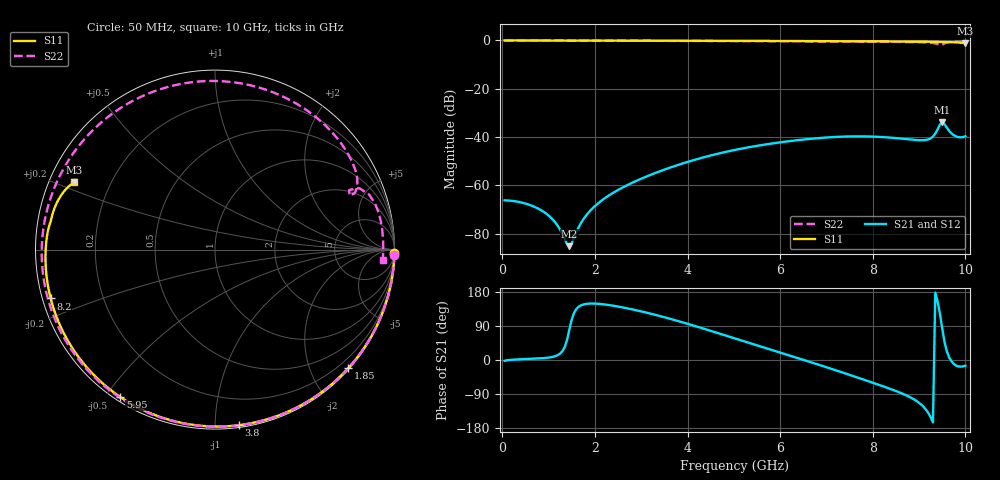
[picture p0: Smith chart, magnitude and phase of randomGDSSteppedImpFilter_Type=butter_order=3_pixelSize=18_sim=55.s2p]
! freq	dB(S11)	phase(S11)	dB(S12)	phase(S12)
!  dB(S21)	phase(S21)	dB(S22)	phase(S22)
!S-par simulation data
#  GHz  S  DB  R 50
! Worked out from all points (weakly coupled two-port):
!   200 points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, 50 MHz to 10 GHz, reference 50 ohm
!   highest |S21| = -33.83 dB at 9.5 GHz (marker M1); lowest = -85.1 dB at 1.45 GHz (marker M2)
!   lowest |S11| = -1.2 dB at 10 GHz (marker M3), VSWR 14.55, Z = 3.61 + j11.2 ohm
!   |S11| at or under -10 dB: nowhere
!   |S22| runs from -1.9 to 0.0 dB; largest |S21 - S12| = 0
!   S11 on the Smith chart (normalised r, x): 50 MHz: open; 1.85 GHz: 0.02, -2.63; 3.8 GHz: 0.01, -1.15; 5.95 GHz: 0.02, -0.55; 8.2 GHz: 0.02, -0.15; 10 GHz: 0.07, +0.22
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0.05  -0.00 -1.2  -66.16 -2.1  -66.16 -2.1  -0.00 -1.6
0.75  -0.02 -17.2  -69.35 3.8  -69.35 3.8  -0.02 -23.6
1.05  -0.03 -23.9  -73.34 7.3  -73.34 7.3  -0.04 -32.9
1.3  -0.04 -29.5  -80.21 23.6  -80.21 23.6  -0.05 -40.6
1.45  -0.04 -32.8  -85.14 81.3  -85.14 81.3  -0.06 -45.2
1.6  -0.05 -36.2  -79.27 134.7  -79.27 134.7  -0.06 -49.7
1.75  -0.05 -39.5  -74.03 146.5  -74.03 146.5  -0.07 -54.3
1.85  -0.05 -41.6  -71.51 148.6  -71.51 148.6  -0.07 -57.3
2.45  -0.07 -54.6  -62.41 142.1  -62.41 142.1  -0.10 -75.2
3.4  -0.10 -74.2  -54.15 116.1  -54.15 116.1  -0.14 -103.0
3.8  -0.11 -82.2  -51.48 102.7  -51.48 102.7  -0.16 -114.7
5.05  -0.16 -106.2  -45.20 55.8  -45.20 55.8  -0.23 -152.0
5.95  -0.21 -122.7  -42.30 21.4  -42.30 21.4  -0.31 178.7
6.7  -0.26 -136.2  -40.63 -7.3  -40.63 -7.3  -0.39 151.3
7.55  -0.33 -151.5  -39.70 -41.3  -39.70 -41.3  -0.48 115.6
8.2  -0.40 -163.5  -39.97 -68.5  -39.97 -68.5  -0.55 84.7
8.35  -0.41 -166.3  -40.16 -75.0  -40.16 -75.0  -0.57 77.2
9.2  -0.53 176.9  -40.94 -140.0  -40.94 -140.0  -0.85 32.3
9.4  -0.59 172.4  -36.80 154.2  -36.80 154.2  -1.52 22.0
9.5  -0.64 170.2  -33.83 83.1  -33.83 83.1  -1.74 24.0
9.75  -0.73 163.8  -39.21 -10.5  -39.21 -10.5  -0.56 9.6
10  -1.20 154.6  -39.62 -14.9  -39.62 -14.9  -0.57 -3.7
